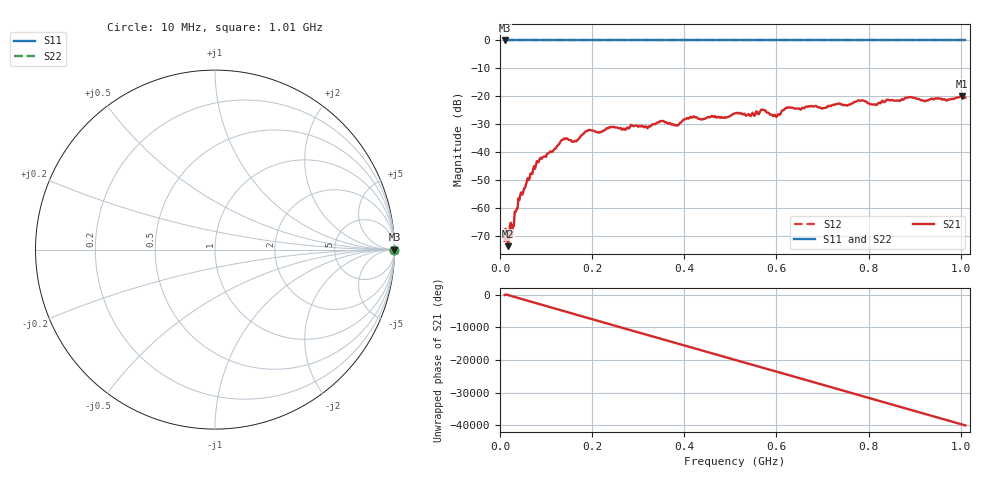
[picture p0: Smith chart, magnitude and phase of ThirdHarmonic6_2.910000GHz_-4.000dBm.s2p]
! 8/17/2025 8:03:57 AM
! C:\ANRITSUVNA\TEMP\TEMP.S2P
! CHANNEL.1
! TR.MEASUREMENT
! RAW.DATA
! RF.CORRECTION.OFF
! AVERAGING.OFF
! IF.BANDWIDTH: 5KHZ
! SWEEPTYPE:  FREQ.SWEEP(Linear)
! Reference Plane Port Info
! PORT:  PORT1  PORT2
! DISTANCE:  0  m  0  m
! TIME:  0  s  0  s
! PHASE.OFFSET:  0  deg.  0  deg.
! LOSS:  0  dB  0  dB
! REF.LOSS:  0  dB  0  dB
! REF.FREQ:  0  Hz  0  Hz
! Power Info
! POWER:  -20  dBm  -20  dBm
! EFF.POWER:  -20  dBm  -20  dBm
! SOURCE.ATTEN:  0  dB  0  dB
! TEST.ATTEN:  0  dB  0  dB
# GHZ S RI R 50.0
! FREQ.GHZ  S11RE  S11IM  S21RE  S21IM  S12RE  S12IM  S22RE  S22IM
!; PortSelection: Port_12
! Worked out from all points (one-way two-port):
!   501 points, 10 MHz to 1.01 GHz, reference 50 ohm
!   highest |S21| = -19.86 dB at 1.002 GHz (marker M1); lowest = -73.5 dB at 18 MHz (marker M2)
!   lowest |S11| = 0.0 dB at 10 MHz (marker M3)
!   |S11| at or under -10 dB: nowhere
!   |S22| runs from 0.0 to 0.0 dB; largest |S21 - S12| = 1.1
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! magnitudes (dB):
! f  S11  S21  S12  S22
! 10 MHz  0.0  -71.6  0.0  0.0
! 18 MHz  0.0  -73.5  0.0  0.0
! 30 MHz  0.0  -66.4  0.0  0.0
! 44 MHz  0.0  -55.2  0.0  0.0
! 84 MHz  0.0  -43.4  0.0  0.0
! 136 MHz  0.0  -35.5  0.0  0.0
! 162 MHz  0.0  -35.9  0.0  0.0
! 178 MHz  0.0  -33.7  0.0  0.0
! 192 MHz  0.0  -32.0  0.0  0.0
! 322 MHz  0.0  -30.9  0.0  0.0
! 344 MHz  0.0  -29.3  0.0  0.0
! 384 MHz  0.0  -30.3  0.0  0.0
! 416 MHz  0.0  -27.6  0.0  0.0
! 510 MHz  0.0  -26.0  0.0  0.0
! 548 MHz  0.0  -25.8  0.0  0.0
! 570 MHz  0.0  -24.7  0.0  0.0
! 598 MHz  0.0  -26.8  0.0  0.0
! 624 MHz  0.0  -23.9  0.0  0.0
! 678 MHz  0.0  -23.6  0.0  0.0
! 844 MHz  0.0  -21.3  0.0  0.0
! 1.002 GHz  0.0  -19.9  0.0  0.0
! 1.01 GHz  0.0  -20.5  0.0  0.0
